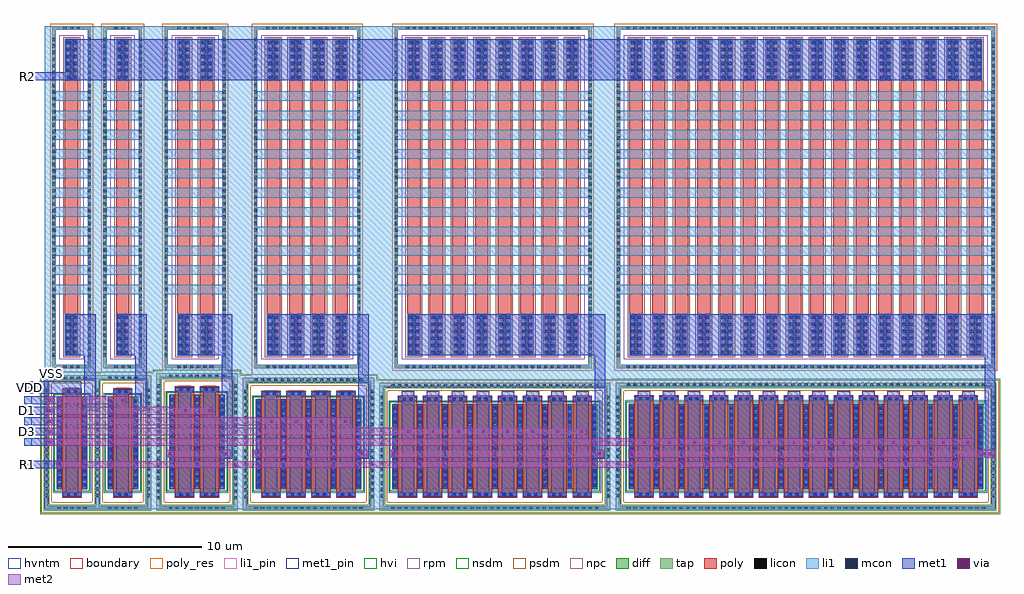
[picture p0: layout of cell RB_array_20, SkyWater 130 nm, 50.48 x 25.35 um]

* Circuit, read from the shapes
.subckt RB_array_20 D0 D1 D2 D3 D4 R1 R2 VDD VSS
XM1 n1 VDD R1 VSS sky130_fd_pr__nfet_g5v0d10v5 w=4.77 l=1
XM2 n2 D0 R1 VSS sky130_fd_pr__nfet_g5v0d10v5 w=4.77 l=1
XM3 R1 D1 n3 VSS sky130_fd_pr__nfet_g5v0d10v5 w=4.87 l=1 m=2
XM4 R1 D2 n4 VSS sky130_fd_pr__nfet_g5v0d10v5 w=4.65 l=1 m=4
XM5 R1 D3 n5 VSS sky130_fd_pr__nfet_g5v0d10v5 w=4.38 l=1 m=8
XM6 R1 D4 n6 VSS sky130_fd_pr__nfet_g5v0d10v5 w=4.4 l=1 m=14
XR7 R2 n1 VSS sky130_fd_pr__res_high_po w=0.69 l=12.1
XR8 R2 n2 VSS sky130_fd_pr__res_high_po w=0.69 l=12.1
XR9 R2 n3 VSS sky130_fd_pr__res_high_po w=0.69 l=12.1 m=2
XR10 R2 n4 VSS sky130_fd_pr__res_high_po w=0.69 l=12.1 m=4
XR11 R2 n5 VSS sky130_fd_pr__res_high_po w=0.69 l=12.1 m=8
XR12 R2 n6 VSS sky130_fd_pr__res_high_po w=0.69 l=12.1 m=16
.ends

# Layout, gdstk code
import gdstk
lib = gdstk.Library(unit=1e-6, precision=1e-09)
def R(c, l, rs):  # rectangles x0, y0, x1, y1
    for r in rs: c.add(gdstk.rectangle(r[:2], r[2:], *l))
def A(c, l, x, y, w, h, nx, ny, dx, dy):  # array of equal rectangles
    R(c, l, [(x+i*dx, y+j*dy, x+i*dx+w, y+j*dy+h) for i in range(nx) for j in range(ny)])
diff = (65, 20)
tap = (65, 44)
poly_res = (66, 13)
poly = (66, 20)
licon = (66, 44)
li1_pin = (67, 16)
li1 = (67, 20)
mcon = (67, 44)
met1_pin = (68, 16)
met1 = (68, 20)
via = (68, 44)
met2 = (69, 20)
hvi = (75, 20)
rpm = (86, 20)
nsdm = (93, 44)
psdm = (94, 20)
npc = (95, 20)
hvntm = (125, 20)
boundary = (235, 4)

sky130_fd_pr__res_high_p = lib.new_cell('sky130_fd_pr__res_high_po_0p69_Z3RMRJ')
R(sky130_fd_pr__res_high_p, tap, [(-1.58,-8.84,1.58,-8.67), (-1.58,-8.67,-1.41,8.67), (1.41,-8.67,1.58,8.67), (-1.58,8.67,1.58,8.84)])
R(sky130_fd_pr__res_high_p, poly_res, [(-0.93,-6.11,-0.24,6.11), (0.24,-6.11,0.93,6.11)])
R(sky130_fd_pr__res_high_p, poly, [(-0.93,-8.19,-0.24,8.19), (0.24,-8.19,0.93,8.19)])
A(sky130_fd_pr__res_high_p, licon, -0.935, -8.84, 0.17, 0.17, 6, 2, 0.34, 17.51)
A(sky130_fd_pr__res_high_p, licon, -1.58, -8.245, 0.17, 0.17, 1, 49, 0, 0.34)
A(sky130_fd_pr__res_high_p, licon, 1.41, -8.245, 0.17, 0.17, 1, 49, 0, 0.34)
R(sky130_fd_pr__res_high_p, licon, [(-0.68,-8.11,-0.49,-6.11), (0.49,-8.11,0.68,-6.11), (-0.68,6.11,-0.49,8.11), (0.49,6.11,0.68,8.11)])
R(sky130_fd_pr__res_high_p, li1, [(-1.58,-8.84,1.58,-8.67), (-1.58,-8.67,-1.41,8.67), (1.41,-8.67,1.58,8.67), (-0.93,-8.19,-0.24,-6.03), (0.24,-8.19,0.93,-6.03), (-0.93,6.03,-0.24,8.19), (0.24,6.03,0.93,8.19), (-1.58,8.67,1.58,8.84)])
A(sky130_fd_pr__res_high_p, mcon, -0.85, -8.095, 0.17, 0.17, 1, 6, 0, 0.36)
A(sky130_fd_pr__res_high_p, mcon, -0.49, -8.095, 0.17, 0.17, 1, 6, 0, 0.36)
A(sky130_fd_pr__res_high_p, mcon, 0.32, -8.095, 0.17, 0.17, 1, 6, 0, 0.36)
A(sky130_fd_pr__res_high_p, mcon, 0.68, -8.095, 0.17, 0.17, 1, 6, 0, 0.36)
A(sky130_fd_pr__res_high_p, mcon, -0.85, 6.12, 0.17, 0.17, 1, 6, 0, 0.36)
A(sky130_fd_pr__res_high_p, mcon, -0.49, 6.12, 0.17, 0.17, 1, 6, 0, 0.36)
A(sky130_fd_pr__res_high_p, mcon, 0.32, 6.12, 0.17, 0.17, 1, 6, 0, 0.36)
A(sky130_fd_pr__res_high_p, mcon, 0.68, 6.12, 0.17, 0.17, 1, 6, 0, 0.36)
R(sky130_fd_pr__res_high_p, met1, [(-0.88,-8.16,-0.29,-6.055), (0.29,-8.16,0.88,-6.055), (-0.88,6.055,-0.29,8.16), (0.29,6.055,0.88,8.16)])
R(sky130_fd_pr__res_high_p, rpm, [(-1.22,-8.39,1.22,8.39)])
R(sky130_fd_pr__res_high_p, psdm, [(-1.705,-8.965,1.705,8.965)])
R(sky130_fd_pr__res_high_p, npc, [(-1.025,-8.285,-0.145,8.285), (0.145,-8.285,1.025,8.285)])
R(sky130_fd_pr__res_high_p, boundary, [(-1.495,-8.755,1.495,8.755)])

c_sky130_fd_pr__res_high_p = lib.new_cell('sky130_fd_pr__res_high_po_0p69_JKKHRG')
R(c_sky130_fd_pr__res_high_p, tap, [(-0.995,-8.84,0.995,-8.67), (-0.995,-8.67,-0.825,8.67), (0.825,-8.67,0.995,8.67), (-0.995,8.67,0.995,8.84)])
R(c_sky130_fd_pr__res_high_p, poly_res, [(-0.345,-6.11,0.345,6.11)])
R(c_sky130_fd_pr__res_high_p, poly, [(-0.345,-8.19,0.345,8.19)])
A(c_sky130_fd_pr__res_high_p, licon, -0.425, -8.84, 0.17, 0.17, 3, 2, 0.34, 17.51)
A(c_sky130_fd_pr__res_high_p, licon, -0.995, -8.245, 0.17, 0.17, 1, 49, 0, 0.34)
A(c_sky130_fd_pr__res_high_p, licon, 0.825, -8.245, 0.17, 0.17, 1, 49, 0, 0.34)
R(c_sky130_fd_pr__res_high_p, licon, [(-0.095,-8.11,0.095,-6.11), (-0.095,6.11,0.095,8.11)])
R(c_sky130_fd_pr__res_high_p, li1, [(-0.995,-8.84,0.995,-8.67), (-0.995,-8.67,-0.825,8.67), (0.825,-8.67,0.995,8.67), (-0.345,-8.19,0.345,-6.03), (-0.345,6.03,0.345,8.19), (-0.995,8.67,0.995,8.84)])
A(c_sky130_fd_pr__res_high_p, mcon, -0.265, -8.095, 0.17, 0.17, 1, 6, 0, 0.36)
A(c_sky130_fd_pr__res_high_p, mcon, 0.095, -8.095, 0.17, 0.17, 1, 6, 0, 0.36)
A(c_sky130_fd_pr__res_high_p, mcon, -0.265, 6.12, 0.17, 0.17, 1, 6, 0, 0.36)
A(c_sky130_fd_pr__res_high_p, mcon, 0.095, 6.12, 0.17, 0.17, 1, 6, 0, 0.36)
R(c_sky130_fd_pr__res_high_p, met1, [(-0.295,-8.16,0.295,-6.055), (-0.295,6.055,0.295,8.16)])
R(c_sky130_fd_pr__res_high_p, rpm, [(-0.635,-8.39,0.635,8.39)])
R(c_sky130_fd_pr__res_high_p, psdm, [(-1.12,-8.965,1.12,8.965)])
R(c_sky130_fd_pr__res_high_p, npc, [(-0.44,-8.285,0.44,8.285)])
R(c_sky130_fd_pr__res_high_p, boundary, [(-0.91,-8.755,0.91,8.755)])

sky130_fd_pr__nfet_g5v0d = lib.new_cell('sky130_fd_pr__nfet_g5v0d10v5_727CUP')
R(sky130_fd_pr__nfet_g5v0d, diff, [(-0.79,-2.385,0.79,2.385)])
R(sky130_fd_pr__nfet_g5v0d, tap, [(-1.46,-3.495,1.46,-3.205), (-1.46,-3.205,-1.17,3.205), (1.17,-3.205,1.46,3.205), (-1.46,3.205,1.46,3.495)])
R(sky130_fd_pr__nfet_g5v0d, poly, [(-0.5,-2.825,0.5,2.825)])
A(sky130_fd_pr__nfet_g5v0d, licon, -0.765, -3.435, 0.17, 0.17, 5, 2, 0.34, 6.7)
A(sky130_fd_pr__nfet_g5v0d, licon, -1.4, -2.805, 0.17, 0.17, 1, 17, 0, 0.34)
A(sky130_fd_pr__nfet_g5v0d, licon, 1.23, -2.805, 0.17, 0.17, 1, 17, 0, 0.34)
A(sky130_fd_pr__nfet_g5v0d, licon, -0.73, -2.295, 0.17, 0.17, 1, 14, 0, 0.34)
A(sky130_fd_pr__nfet_g5v0d, licon, 0.56, -2.295, 0.17, 0.17, 1, 14, 0, 0.34)
R(sky130_fd_pr__nfet_g5v0d, licon, [(-0.255,-2.745,-0.085,-2.575), (0.085,-2.745,0.255,-2.575), (-0.255,2.575,-0.085,2.745), (0.085,2.575,0.255,2.745)])
R(sky130_fd_pr__nfet_g5v0d, li1, [(-1.4,-3.435,1.4,-3.265), (-1.4,-3.265,-1.23,3.265), (1.23,-3.265,1.4,3.265), (-0.5,-2.745,0.5,-2.575), (-0.73,-2.405,-0.56,2.405), (0.56,-2.405,0.73,2.405), (-0.5,2.575,0.5,2.745), (-1.4,3.265,1.4,3.435)])
A(sky130_fd_pr__nfet_g5v0d, mcon, -0.73, -2.245, 0.17, 0.17, 1, 13, 0, 0.36)
A(sky130_fd_pr__nfet_g5v0d, mcon, 0.56, -2.245, 0.17, 0.17, 1, 13, 0, 0.36)
R(sky130_fd_pr__nfet_g5v0d, mcon, [(-0.265,-2.745,-0.095,-2.575), (0.095,-2.745,0.265,-2.575), (-0.265,2.575,-0.095,2.745), (0.095,2.575,0.265,2.745)])
R(sky130_fd_pr__nfet_g5v0d, met1, [(-0.48,-2.775,0.48,-2.545), (-0.76,-2.385,-0.53,2.385), (0.53,-2.385,0.76,2.385), (-0.48,2.545,0.48,2.775)])
R(sky130_fd_pr__nfet_g5v0d, hvi, [(-1.645,-3.68,1.645,3.68)])
R(sky130_fd_pr__nfet_g5v0d, nsdm, [(-0.915,-2.51,0.915,2.51)])
R(sky130_fd_pr__nfet_g5v0d, psdm, [(-1.585,-3.62,1.585,-3.08), (-1.585,-3.08,-1.045,3.08), (1.045,-3.08,1.585,3.08), (-1.585,3.08,1.585,3.62)])
R(sky130_fd_pr__nfet_g5v0d, npc, [(-0.355,-2.845,0.355,-2.475), (-0.355,2.475,0.355,2.845)])
R(sky130_fd_pr__nfet_g5v0d, hvntm, [(-0.975,-2.57,0.975,2.57)])
R(sky130_fd_pr__nfet_g5v0d, boundary, [(-1.315,-3.35,1.315,3.35)])

c_sky130_fd_pr__nfet_g5v0d = lib.new_cell('sky130_fd_pr__nfet_g5v0d10v5_VU5C5A')
R(c_sky130_fd_pr__nfet_g5v0d, diff, [(-1.435,-2.435,1.435,2.435)])
R(c_sky130_fd_pr__nfet_g5v0d, tap, [(-2.105,-3.545,2.105,-3.255), (-2.105,-3.255,-1.815,3.255), (1.815,-3.255,2.105,3.255), (-2.105,3.255,2.105,3.545)])
R(c_sky130_fd_pr__nfet_g5v0d, poly, [(-1.145,-2.875,-0.145,2.875), (0.145,-2.875,1.145,2.875)])
A(c_sky130_fd_pr__nfet_g5v0d, licon, -1.445, -3.485, 0.17, 0.17, 9, 2, 0.34, 6.8)
A(c_sky130_fd_pr__nfet_g5v0d, licon, -2.045, -2.975, 0.17, 0.17, 1, 18, 0, 0.34)
A(c_sky130_fd_pr__nfet_g5v0d, licon, 1.875, -2.975, 0.17, 0.17, 1, 18, 0, 0.34)
A(c_sky130_fd_pr__nfet_g5v0d, licon, -1.375, -2.295, 0.17, 0.17, 3, 14, 1.29, 0.34)
R(c_sky130_fd_pr__nfet_g5v0d, licon, [(-0.9,-2.795,-0.73,-2.625), (-0.56,-2.795,-0.39,-2.625), (0.39,-2.795,0.56,-2.625), (0.73,-2.795,0.9,-2.625), (-0.9,2.625,-0.73,2.795), (-0.56,2.625,-0.39,2.795), (0.39,2.625,0.56,2.795), (0.73,2.625,0.9,2.795)])
A(c_sky130_fd_pr__nfet_g5v0d, li1, -1.375, -2.455, 0.17, 4.91, 3, 1, 1.29, 0)
R(c_sky130_fd_pr__nfet_g5v0d, li1, [(-2.045,-3.485,2.045,-3.315), (-2.045,-3.315,-1.875,3.315), (1.875,-3.315,2.045,3.315), (-1.145,-2.795,-0.145,-2.625), (0.145,-2.795,1.145,-2.625), (-1.145,2.625,-0.145,2.795), (0.145,2.625,1.145,2.795), (-2.045,3.315,2.045,3.485)])
A(c_sky130_fd_pr__nfet_g5v0d, mcon, -1.375, -2.245, 0.17, 0.17, 3, 13, 1.29, 0.36)
R(c_sky130_fd_pr__nfet_g5v0d, mcon, [(-0.91,-2.795,-0.74,-2.625), (-0.55,-2.795,-0.38,-2.625), (0.38,-2.795,0.55,-2.625), (0.74,-2.795,0.91,-2.625), (-0.91,2.625,-0.74,2.795), (-0.55,2.625,-0.38,2.795), (0.38,2.625,0.55,2.795), (0.74,2.625,0.91,2.795)])
A(c_sky130_fd_pr__nfet_g5v0d, met1, -1.405, -2.435, 0.23, 4.87, 3, 1, 1.29, 0)
R(c_sky130_fd_pr__nfet_g5v0d, met1, [(-1.125,-2.825,-0.165,-2.595), (0.165,-2.825,1.125,-2.595), (-1.125,2.595,-0.165,2.825), (0.165,2.595,1.125,2.825)])
R(c_sky130_fd_pr__nfet_g5v0d, hvi, [(-2.29,-3.73,2.29,3.73)])
R(c_sky130_fd_pr__nfet_g5v0d, nsdm, [(-1.56,-2.56,1.56,2.56)])
R(c_sky130_fd_pr__nfet_g5v0d, psdm, [(-2.23,-3.67,2.23,-3.13), (-2.23,-3.13,-1.69,3.13), (1.69,-3.13,2.23,3.13), (-2.23,3.13,2.23,3.67)])
R(c_sky130_fd_pr__nfet_g5v0d, npc, [(-1,-2.895,-0.29,-2.525), (0.29,-2.895,1,-2.525), (-1,2.525,-0.29,2.895), (0.29,2.525,1,2.895)])
R(c_sky130_fd_pr__nfet_g5v0d, hvntm, [(-1.62,-2.62,1.62,2.62)])
R(c_sky130_fd_pr__nfet_g5v0d, boundary, [(-1.96,-3.4,1.96,3.4)])

c_sky130_fd_pr__res_high_p_ = lib.new_cell('sky130_fd_pr__res_high_po_0p69_YMHKRJ')
R(c_sky130_fd_pr__res_high_p_, tap, [(-2.75,-8.84,2.75,-8.67), (-2.75,-8.67,-2.58,8.67), (2.58,-8.67,2.75,8.67), (-2.75,8.67,2.75,8.84)])
A(c_sky130_fd_pr__res_high_p_, poly_res, -2.1, -6.11, 0.69, 12.22, 4, 1, 1.17, 0)
A(c_sky130_fd_pr__res_high_p_, poly, -2.1, -8.19, 0.69, 16.38, 4, 1, 1.17, 0)
A(c_sky130_fd_pr__res_high_p_, licon, -2.125, -8.84, 0.17, 0.17, 13, 2, 0.34, 17.51)
A(c_sky130_fd_pr__res_high_p_, licon, -2.75, -8.245, 0.17, 0.17, 1, 49, 0, 0.34)
A(c_sky130_fd_pr__res_high_p_, licon, 2.58, -8.245, 0.17, 0.17, 1, 49, 0, 0.34)
A(c_sky130_fd_pr__res_high_p_, licon, -1.85, -8.11, 0.19, 2, 4, 2, 1.17, 14.22)
A(c_sky130_fd_pr__res_high_p_, li1, -2.1, -8.19, 0.69, 2.16, 4, 2, 1.17, 14.22)
R(c_sky130_fd_pr__res_high_p_, li1, [(-2.75,-8.84,2.75,-8.67), (-2.75,-8.67,-2.58,8.67), (2.58,-8.67,2.75,8.67), (-2.75,8.67,2.75,8.84)])
A(c_sky130_fd_pr__res_high_p_, mcon, -2.02, -8.095, 0.17, 0.17, 1, 6, 0, 0.36)
A(c_sky130_fd_pr__res_high_p_, mcon, -1.66, -8.095, 0.17, 0.17, 1, 6, 0, 0.36)
A(c_sky130_fd_pr__res_high_p_, mcon, -0.85, -8.095, 0.17, 0.17, 1, 6, 0, 0.36)
A(c_sky130_fd_pr__res_high_p_, mcon, -0.49, -8.095, 0.17, 0.17, 1, 6, 0, 0.36)
A(c_sky130_fd_pr__res_high_p_, mcon, 0.32, -8.095, 0.17, 0.17, 1, 6, 0, 0.36)
A(c_sky130_fd_pr__res_high_p_, mcon, 0.68, -8.095, 0.17, 0.17, 1, 6, 0, 0.36)
A(c_sky130_fd_pr__res_high_p_, mcon, 1.49, -8.095, 0.17, 0.17, 1, 6, 0, 0.36)
A(c_sky130_fd_pr__res_high_p_, mcon, 1.85, -8.095, 0.17, 0.17, 1, 6, 0, 0.36)
A(c_sky130_fd_pr__res_high_p_, mcon, -2.02, 6.12, 0.17, 0.17, 1, 6, 0, 0.36)
A(c_sky130_fd_pr__res_high_p_, mcon, -1.66, 6.12, 0.17, 0.17, 1, 6, 0, 0.36)
A(c_sky130_fd_pr__res_high_p_, mcon, -0.85, 6.12, 0.17, 0.17, 1, 6, 0, 0.36)
A(c_sky130_fd_pr__res_high_p_, mcon, -0.49, 6.12, 0.17, 0.17, 1, 6, 0, 0.36)
A(c_sky130_fd_pr__res_high_p_, mcon, 0.32, 6.12, 0.17, 0.17, 1, 6, 0, 0.36)
A(c_sky130_fd_pr__res_high_p_, mcon, 0.68, 6.12, 0.17, 0.17, 1, 6, 0, 0.36)
A(c_sky130_fd_pr__res_high_p_, mcon, 1.49, 6.12, 0.17, 0.17, 1, 6, 0, 0.36)
A(c_sky130_fd_pr__res_high_p_, mcon, 1.85, 6.12, 0.17, 0.17, 1, 6, 0, 0.36)
A(c_sky130_fd_pr__res_high_p_, met1, -2.05, -8.16, 0.59, 2.105, 4, 2, 1.17, 14.215)
R(c_sky130_fd_pr__res_high_p_, rpm, [(-2.39,-8.39,2.39,8.39)])
R(c_sky130_fd_pr__res_high_p_, psdm, [(-2.875,-8.965,2.875,8.965)])
A(c_sky130_fd_pr__res_high_p_, npc, -2.195, -8.285, 0.88, 16.57, 4, 1, 1.17, 0)
R(c_sky130_fd_pr__res_high_p_, boundary, [(-2.665,-8.755,2.665,8.755)])

c_sky130_fd_pr__nfet_g5v0d_ = lib.new_cell('sky130_fd_pr__nfet_g5v0d10v5_S7E57E')
R(c_sky130_fd_pr__nfet_g5v0d_, diff, [(-2.725,-2.325,2.725,2.325)])
R(c_sky130_fd_pr__nfet_g5v0d_, tap, [(-3.395,-3.435,3.395,-3.145), (-3.395,-3.145,-3.105,3.145), (3.105,-3.145,3.395,3.145), (-3.395,3.145,3.395,3.435)])
A(c_sky130_fd_pr__nfet_g5v0d_, poly, -2.435, -2.765, 1, 5.53, 4, 1, 1.29, 0)
A(c_sky130_fd_pr__nfet_g5v0d_, licon, -2.805, -3.375, 0.17, 0.17, 17, 2, 0.34, 6.58)
A(c_sky130_fd_pr__nfet_g5v0d_, licon, -3.335, -2.805, 0.17, 0.17, 1, 17, 0, 0.34)
A(c_sky130_fd_pr__nfet_g5v0d_, licon, 3.165, -2.805, 0.17, 0.17, 1, 17, 0, 0.34)
A(c_sky130_fd_pr__nfet_g5v0d_, licon, -2.665, -2.125, 0.17, 0.17, 5, 13, 1.29, 0.34)
R(c_sky130_fd_pr__nfet_g5v0d_, licon, [(-2.19,-2.685,-2.02,-2.515), (-1.85,-2.685,-1.68,-2.515), (-0.9,-2.685,-0.73,-2.515), (-0.56,-2.685,-0.39,-2.515), (0.39,-2.685,0.56,-2.515), (0.73,-2.685,0.9,-2.515), (1.68,-2.685,1.85,-2.515), (2.02,-2.685,2.19,-2.515), (-2.19,2.515,-2.02,2.685), (-1.85,2.515,-1.68,2.685), (-0.9,2.515,-0.73,2.685), (-0.56,2.515,-0.39,2.685), (0.39,2.515,0.56,2.685), (0.73,2.515,0.9,2.685), (1.68,2.515,1.85,2.685), (2.02,2.515,2.19,2.685)])
A(c_sky130_fd_pr__nfet_g5v0d_, li1, -2.435, -2.685, 1, 0.17, 4, 2, 1.29, 5.2)
A(c_sky130_fd_pr__nfet_g5v0d_, li1, -2.665, -2.345, 0.17, 4.69, 5, 1, 1.29, 0)
R(c_sky130_fd_pr__nfet_g5v0d_, li1, [(-3.335,-3.375,3.335,-3.205), (-3.335,-3.205,-3.165,3.205), (3.165,-3.205,3.335,3.205), (-3.335,3.205,3.335,3.375)])
A(c_sky130_fd_pr__nfet_g5v0d_, mcon, -2.665, -2.245, 0.17, 0.17, 5, 13, 1.29, 0.36)
R(c_sky130_fd_pr__nfet_g5v0d_, mcon, [(-2.2,-2.685,-2.03,-2.515), (-1.84,-2.685,-1.67,-2.515), (-0.91,-2.685,-0.74,-2.515), (-0.55,-2.685,-0.38,-2.515), (0.38,-2.685,0.55,-2.515), (0.74,-2.685,0.91,-2.515), (1.67,-2.685,1.84,-2.515), (2.03,-2.685,2.2,-2.515), (-2.2,2.515,-2.03,2.685), (-1.84,2.515,-1.67,2.685), (-0.91,2.515,-0.74,2.685), (-0.55,2.515,-0.38,2.685), (0.38,2.515,0.55,2.685), (0.74,2.515,0.91,2.685), (1.67,2.515,1.84,2.685), (2.03,2.515,2.2,2.685)])
A(c_sky130_fd_pr__nfet_g5v0d_, met1, -2.415, -2.715, 0.96, 0.23, 4, 2, 1.29, 5.2)
A(c_sky130_fd_pr__nfet_g5v0d_, met1, -2.695, -2.325, 0.23, 4.65, 5, 1, 1.29, 0)
R(c_sky130_fd_pr__nfet_g5v0d_, hvi, [(-3.58,-3.62,3.58,3.62)])
R(c_sky130_fd_pr__nfet_g5v0d_, nsdm, [(-2.85,-2.45,2.85,2.45)])
R(c_sky130_fd_pr__nfet_g5v0d_, psdm, [(-3.52,-3.56,3.52,-3.02), (-3.52,-3.02,-2.98,3.02), (2.98,-3.02,3.52,3.02), (-3.52,3.02,3.52,3.56)])
A(c_sky130_fd_pr__nfet_g5v0d_, npc, -2.29, -2.785, 0.71, 0.37, 4, 2, 1.29, 5.2)
R(c_sky130_fd_pr__nfet_g5v0d_, hvntm, [(-2.91,-2.51,2.91,2.51)])
R(c_sky130_fd_pr__nfet_g5v0d_, boundary, [(-3.25,-3.29,3.25,3.29)])

c_sky130_fd_pr__res_high_p__ = lib.new_cell('sky130_fd_pr__res_high_po_0p69_Z3RMR6')
R(c_sky130_fd_pr__res_high_p__, tap, [(-5.09,-8.84,5.09,-8.67), (-5.09,-8.67,-4.92,8.67), (4.92,-8.67,5.09,8.67), (-5.09,8.67,5.09,8.84)])
A(c_sky130_fd_pr__res_high_p__, poly_res, -4.44, -6.11, 0.69, 12.22, 8, 1, 1.17, 0)
A(c_sky130_fd_pr__res_high_p__, poly, -4.44, -8.19, 0.69, 16.38, 8, 1, 1.17, 0)
A(c_sky130_fd_pr__res_high_p__, licon, -4.505, -8.84, 0.17, 0.17, 27, 2, 0.34, 17.51)
A(c_sky130_fd_pr__res_high_p__, licon, -5.09, -8.245, 0.17, 0.17, 1, 49, 0, 0.34)
A(c_sky130_fd_pr__res_high_p__, licon, 4.92, -8.245, 0.17, 0.17, 1, 49, 0, 0.34)
A(c_sky130_fd_pr__res_high_p__, licon, -4.19, -8.11, 0.19, 2, 8, 2, 1.17, 14.22)
A(c_sky130_fd_pr__res_high_p__, li1, -4.44, -8.19, 0.69, 2.16, 8, 2, 1.17, 14.22)
R(c_sky130_fd_pr__res_high_p__, li1, [(-5.09,-8.84,5.09,-8.67), (-5.09,-8.67,-4.92,8.67), (4.92,-8.67,5.09,8.67), (-5.09,8.67,5.09,8.84)])
A(c_sky130_fd_pr__res_high_p__, mcon, -4.36, -8.095, 0.17, 0.17, 1, 6, 0, 0.36)
A(c_sky130_fd_pr__res_high_p__, mcon, -4, -8.095, 0.17, 0.17, 1, 6, 0, 0.36)
A(c_sky130_fd_pr__res_high_p__, mcon, -3.19, -8.095, 0.17, 0.17, 1, 6, 0, 0.36)
A(c_sky130_fd_pr__res_high_p__, mcon, -2.83, -8.095, 0.17, 0.17, 1, 6, 0, 0.36)
A(c_sky130_fd_pr__res_high_p__, mcon, -2.02, -8.095, 0.17, 0.17, 1, 6, 0, 0.36)
A(c_sky130_fd_pr__res_high_p__, mcon, -1.66, -8.095, 0.17, 0.17, 1, 6, 0, 0.36)
A(c_sky130_fd_pr__res_high_p__, mcon, -0.85, -8.095, 0.17, 0.17, 1, 6, 0, 0.36)
A(c_sky130_fd_pr__res_high_p__, mcon, -0.49, -8.095, 0.17, 0.17, 1, 6, 0, 0.36)
A(c_sky130_fd_pr__res_high_p__, mcon, 0.32, -8.095, 0.17, 0.17, 1, 6, 0, 0.36)
A(c_sky130_fd_pr__res_high_p__, mcon, 0.68, -8.095, 0.17, 0.17, 1, 6, 0, 0.36)
A(c_sky130_fd_pr__res_high_p__, mcon, 1.49, -8.095, 0.17, 0.17, 1, 6, 0, 0.36)
A(c_sky130_fd_pr__res_high_p__, mcon, 1.85, -8.095, 0.17, 0.17, 1, 6, 0, 0.36)
A(c_sky130_fd_pr__res_high_p__, mcon, 2.66, -8.095, 0.17, 0.17, 1, 6, 0, 0.36)
A(c_sky130_fd_pr__res_high_p__, mcon, 3.02, -8.095, 0.17, 0.17, 1, 6, 0, 0.36)
A(c_sky130_fd_pr__res_high_p__, mcon, 3.83, -8.095, 0.17, 0.17, 1, 6, 0, 0.36)
A(c_sky130_fd_pr__res_high_p__, mcon, 4.19, -8.095, 0.17, 0.17, 1, 6, 0, 0.36)
A(c_sky130_fd_pr__res_high_p__, mcon, -4.36, 6.12, 0.17, 0.17, 1, 6, 0, 0.36)
A(c_sky130_fd_pr__res_high_p__, mcon, -4, 6.12, 0.17, 0.17, 1, 6, 0, 0.36)
A(c_sky130_fd_pr__res_high_p__, mcon, -3.19, 6.12, 0.17, 0.17, 1, 6, 0, 0.36)
A(c_sky130_fd_pr__res_high_p__, mcon, -2.83, 6.12, 0.17, 0.17, 1, 6, 0, 0.36)
A(c_sky130_fd_pr__res_high_p__, mcon, -2.02, 6.12, 0.17, 0.17, 1, 6, 0, 0.36)
A(c_sky130_fd_pr__res_high_p__, mcon, -1.66, 6.12, 0.17, 0.17, 1, 6, 0, 0.36)
A(c_sky130_fd_pr__res_high_p__, mcon, -0.85, 6.12, 0.17, 0.17, 1, 6, 0, 0.36)
A(c_sky130_fd_pr__res_high_p__, mcon, -0.49, 6.12, 0.17, 0.17, 1, 6, 0, 0.36)
A(c_sky130_fd_pr__res_high_p__, mcon, 0.32, 6.12, 0.17, 0.17, 1, 6, 0, 0.36)
A(c_sky130_fd_pr__res_high_p__, mcon, 0.68, 6.12, 0.17, 0.17, 1, 6, 0, 0.36)
A(c_sky130_fd_pr__res_high_p__, mcon, 1.49, 6.12, 0.17, 0.17, 1, 6, 0, 0.36)
A(c_sky130_fd_pr__res_high_p__, mcon, 1.85, 6.12, 0.17, 0.17, 1, 6, 0, 0.36)
A(c_sky130_fd_pr__res_high_p__, mcon, 2.66, 6.12, 0.17, 0.17, 1, 6, 0, 0.36)
A(c_sky130_fd_pr__res_high_p__, mcon, 3.02, 6.12, 0.17, 0.17, 1, 6, 0, 0.36)
A(c_sky130_fd_pr__res_high_p__, mcon, 3.83, 6.12, 0.17, 0.17, 1, 6, 0, 0.36)
A(c_sky130_fd_pr__res_high_p__, mcon, 4.19, 6.12, 0.17, 0.17, 1, 6, 0, 0.36)
A(c_sky130_fd_pr__res_high_p__, met1, -4.39, -8.16, 0.59, 2.105, 8, 2, 1.17, 14.215)
R(c_sky130_fd_pr__res_high_p__, rpm, [(-4.73,-8.39,4.73,8.39)])
R(c_sky130_fd_pr__res_high_p__, psdm, [(-5.215,-8.965,5.215,8.965)])
A(c_sky130_fd_pr__res_high_p__, npc, -4.535, -8.285, 0.88, 16.57, 8, 1, 1.17, 0)
R(c_sky130_fd_pr__res_high_p__, boundary, [(-5.005,-8.755,5.005,8.755)])

c_sky130_fd_pr__nfet_g5v0d__ = lib.new_cell('sky130_fd_pr__nfet_g5v0d10v5_J97EKB')
R(c_sky130_fd_pr__nfet_g5v0d__, diff, [(-5.305,-2.19,5.305,2.19)])
R(c_sky130_fd_pr__nfet_g5v0d__, tap, [(-5.975,-3.3,5.975,-3.01), (-5.975,-3.01,-5.685,3.01), (5.685,-3.01,5.975,3.01), (-5.975,3.01,5.975,3.3)])
A(c_sky130_fd_pr__nfet_g5v0d__, poly, -5.015, -2.63, 1, 5.26, 8, 1, 1.29, 0)
A(c_sky130_fd_pr__nfet_g5v0d__, licon, -5.355, -3.24, 0.17, 0.17, 32, 2, 0.34, 6.31)
A(c_sky130_fd_pr__nfet_g5v0d__, licon, -5.915, -2.635, 0.17, 0.17, 1, 16, 0, 0.34)
A(c_sky130_fd_pr__nfet_g5v0d__, licon, 5.745, -2.635, 0.17, 0.17, 1, 16, 0, 0.34)
A(c_sky130_fd_pr__nfet_g5v0d__, licon, -5.245, -2.125, 0.17, 0.17, 9, 13, 1.29, 0.34)
R(c_sky130_fd_pr__nfet_g5v0d__, licon, [(-4.77,-2.55,-4.6,-2.38), (-4.43,-2.55,-4.26,-2.38), (-3.48,-2.55,-3.31,-2.38), (-3.14,-2.55,-2.97,-2.38), (-2.19,-2.55,-2.02,-2.38), (-1.85,-2.55,-1.68,-2.38), (-0.9,-2.55,-0.73,-2.38), (-0.56,-2.55,-0.39,-2.38), (0.39,-2.55,0.56,-2.38), (0.73,-2.55,0.9,-2.38), (1.68,-2.55,1.85,-2.38), (2.02,-2.55,2.19,-2.38), (2.97,-2.55,3.14,-2.38), (3.31,-2.55,3.48,-2.38), (4.26,-2.55,4.43,-2.38), (4.6,-2.55,4.77,-2.38), (-4.77,2.38,-4.6,2.55), (-4.43,2.38,-4.26,2.55), (-3.48,2.38,-3.31,2.55), (-3.14,2.38,-2.97,2.55), (-2.19,2.38,-2.02,2.55), (-1.85,2.38,-1.68,2.55), (-0.9,2.38,-0.73,2.55), (-0.56,2.38,-0.39,2.55), (0.39,2.38,0.56,2.55), (0.73,2.38,0.9,2.55), (1.68,2.38,1.85,2.55), (2.02,2.38,2.19,2.55), (2.97,2.38,3.14,2.55), (3.31,2.38,3.48,2.55), (4.26,2.38,4.43,2.55), (4.6,2.38,4.77,2.55)])
A(c_sky130_fd_pr__nfet_g5v0d__, li1, -5.015, -2.55, 1, 0.17, 8, 2, 1.29, 4.93)
A(c_sky130_fd_pr__nfet_g5v0d__, li1, -5.245, -2.21, 0.17, 4.42, 9, 1, 1.29, 0)
R(c_sky130_fd_pr__nfet_g5v0d__, li1, [(-5.915,-3.24,5.915,-3.07), (-5.915,-3.07,-5.745,3.07), (5.745,-3.07,5.915,3.07), (-5.915,3.07,5.915,3.24)])
A(c_sky130_fd_pr__nfet_g5v0d__, mcon, -5.245, -2.065, 0.17, 0.17, 9, 12, 1.29, 0.36)
R(c_sky130_fd_pr__nfet_g5v0d__, mcon, [(-4.78,-2.55,-4.61,-2.38), (-4.42,-2.55,-4.25,-2.38), (-3.49,-2.55,-3.32,-2.38), (-3.13,-2.55,-2.96,-2.38), (-2.2,-2.55,-2.03,-2.38), (-1.84,-2.55,-1.67,-2.38), (-0.91,-2.55,-0.74,-2.38), (-0.55,-2.55,-0.38,-2.38), (0.38,-2.55,0.55,-2.38), (0.74,-2.55,0.91,-2.38), (1.67,-2.55,1.84,-2.38), (2.03,-2.55,2.2,-2.38), (2.96,-2.55,3.13,-2.38), (3.32,-2.55,3.49,-2.38), (4.25,-2.55,4.42,-2.38), (4.61,-2.55,4.78,-2.38), (-4.78,2.38,-4.61,2.55), (-4.42,2.38,-4.25,2.55), (-3.49,2.38,-3.32,2.55), (-3.13,2.38,-2.96,2.55), (-2.2,2.38,-2.03,2.55), (-1.84,2.38,-1.67,2.55), (-0.91,2.38,-0.74,2.55), (-0.55,2.38,-0.38,2.55), (0.38,2.38,0.55,2.55), (0.74,2.38,0.91,2.55), (1.67,2.38,1.84,2.55), (2.03,2.38,2.2,2.55), (2.96,2.38,3.13,2.55), (3.32,2.38,3.49,2.55), (4.25,2.38,4.42,2.55), (4.61,2.38,4.78,2.55)])
A(c_sky130_fd_pr__nfet_g5v0d__, met1, -4.995, -2.58, 0.96, 0.23, 8, 2, 1.29, 4.93)
A(c_sky130_fd_pr__nfet_g5v0d__, met1, -5.275, -2.19, 0.23, 4.38, 9, 1, 1.29, 0)
R(c_sky130_fd_pr__nfet_g5v0d__, hvi, [(-6.16,-3.485,6.16,3.485)])
R(c_sky130_fd_pr__nfet_g5v0d__, nsdm, [(-5.43,-2.315,5.43,2.315)])
R(c_sky130_fd_pr__nfet_g5v0d__, psdm, [(-6.1,-3.425,6.1,-2.885), (-6.1,-2.885,-5.56,2.885), (5.56,-2.885,6.1,2.885), (-6.1,2.885,6.1,3.425)])
A(c_sky130_fd_pr__nfet_g5v0d__, npc, -4.87, -2.65, 0.71, 0.37, 8, 2, 1.29, 4.93)
R(c_sky130_fd_pr__nfet_g5v0d__, hvntm, [(-5.49,-2.375,5.49,2.375)])
R(c_sky130_fd_pr__nfet_g5v0d__, boundary, [(-5.83,-3.155,5.83,3.155)])

c_sky130_fd_pr__nfet_g5v0d___ = lib.new_cell('sky130_fd_pr__nfet_g5v0d10v5_YPGNM4')
R(c_sky130_fd_pr__nfet_g5v0d___, diff, [(-9.175,-2.2,9.175,2.2)])
R(c_sky130_fd_pr__nfet_g5v0d___, tap, [(-9.845,-3.31,9.845,-3.02), (-9.845,-3.02,-9.555,3.02), (9.555,-3.02,9.845,3.02), (-9.845,3.02,9.845,3.31)])
A(c_sky130_fd_pr__nfet_g5v0d___, poly, -8.885, -2.64, 1, 5.28, 14, 1, 1.29, 0)
A(c_sky130_fd_pr__nfet_g5v0d___, licon, -9.265, -3.25, 0.17, 0.17, 55, 2, 0.34, 6.33)
A(c_sky130_fd_pr__nfet_g5v0d___, licon, -9.785, -2.635, 0.17, 0.17, 1, 16, 0, 0.34)
A(c_sky130_fd_pr__nfet_g5v0d___, licon, 9.615, -2.635, 0.17, 0.17, 1, 16, 0, 0.34)
A(c_sky130_fd_pr__nfet_g5v0d___, licon, -9.115, -2.125, 0.17, 0.17, 15, 13, 1.29, 0.34)
R(c_sky130_fd_pr__nfet_g5v0d___, licon, [(-8.64,-2.56,-8.47,-2.39), (-8.3,-2.56,-8.13,-2.39), (-7.35,-2.56,-7.18,-2.39), (-7.01,-2.56,-6.84,-2.39), (-6.06,-2.56,-5.89,-2.39), (-5.72,-2.56,-5.55,-2.39), (-4.77,-2.56,-4.6,-2.39), (-4.43,-2.56,-4.26,-2.39), (-3.48,-2.56,-3.31,-2.39), (-3.14,-2.56,-2.97,-2.39), (-2.19,-2.56,-2.02,-2.39), (-1.85,-2.56,-1.68,-2.39), (-0.9,-2.56,-0.73,-2.39), (-0.56,-2.56,-0.39,-2.39), (0.39,-2.56,0.56,-2.39), (0.73,-2.56,0.9,-2.39), (1.68,-2.56,1.85,-2.39), (2.02,-2.56,2.19,-2.39), (2.97,-2.56,3.14,-2.39), (3.31,-2.56,3.48,-2.39), (4.26,-2.56,4.43,-2.39), (4.6,-2.56,4.77,-2.39), (5.55,-2.56,5.72,-2.39), (5.89,-2.56,6.06,-2.39), (6.84,-2.56,7.01,-2.39), (7.18,-2.56,7.35,-2.39), (8.13,-2.56,8.3,-2.39), (8.47,-2.56,8.64,-2.39), (-8.64,2.39,-8.47,2.56), (-8.3,2.39,-8.13,2.56), (-7.35,2.39,-7.18,2.56), (-7.01,2.39,-6.84,2.56), (-6.06,2.39,-5.89,2.56), (-5.72,2.39,-5.55,2.56), (-4.77,2.39,-4.6,2.56), (-4.43,2.39,-4.26,2.56), (-3.48,2.39,-3.31,2.56), (-3.14,2.39,-2.97,2.56), (-2.19,2.39,-2.02,2.56), (-1.85,2.39,-1.68,2.56), (-0.9,2.39,-0.73,2.56), (-0.56,2.39,-0.39,2.56), (0.39,2.39,0.56,2.56), (0.73,2.39,0.9,2.56), (1.68,2.39,1.85,2.56), (2.02,2.39,2.19,2.56), (2.97,2.39,3.14,2.56), (3.31,2.39,3.48,2.56), (4.26,2.39,4.43,2.56), (4.6,2.39,4.77,2.56), (5.55,2.39,5.72,2.56), (5.89,2.39,6.06,2.56), (6.84,2.39,7.01,2.56), (7.18,2.39,7.35,2.56), (8.13,2.39,8.3,2.56), (8.47,2.39,8.64,2.56)])
A(c_sky130_fd_pr__nfet_g5v0d___, li1, -8.885, -2.56, 1, 0.17, 14, 2, 1.29, 4.95)
A(c_sky130_fd_pr__nfet_g5v0d___, li1, -9.115, -2.22, 0.17, 4.44, 15, 1, 1.29, 0)
R(c_sky130_fd_pr__nfet_g5v0d___, li1, [(-9.785,-3.25,9.785,-3.08), (-9.785,-3.08,-9.615,3.08), (9.615,-3.08,9.785,3.08), (-9.785,3.08,9.785,3.25)])
A(c_sky130_fd_pr__nfet_g5v0d___, mcon, -9.115, -2.065, 0.17, 0.17, 15, 12, 1.29, 0.36)
R(c_sky130_fd_pr__nfet_g5v0d___, mcon, [(-8.65,-2.56,-8.48,-2.39), (-8.29,-2.56,-8.12,-2.39), (-7.36,-2.56,-7.19,-2.39), (-7,-2.56,-6.83,-2.39), (-6.07,-2.56,-5.9,-2.39), (-5.71,-2.56,-5.54,-2.39), (-4.78,-2.56,-4.61,-2.39), (-4.42,-2.56,-4.25,-2.39), (-3.49,-2.56,-3.32,-2.39), (-3.13,-2.56,-2.96,-2.39), (-2.2,-2.56,-2.03,-2.39), (-1.84,-2.56,-1.67,-2.39), (-0.91,-2.56,-0.74,-2.39), (-0.55,-2.56,-0.38,-2.39), (0.38,-2.56,0.55,-2.39), (0.74,-2.56,0.91,-2.39), (1.67,-2.56,1.84,-2.39), (2.03,-2.56,2.2,-2.39), (2.96,-2.56,3.13,-2.39), (3.32,-2.56,3.49,-2.39), (4.25,-2.56,4.42,-2.39), (4.61,-2.56,4.78,-2.39), (5.54,-2.56,5.71,-2.39), (5.9,-2.56,6.07,-2.39), (6.83,-2.56,7,-2.39), (7.19,-2.56,7.36,-2.39), (8.12,-2.56,8.29,-2.39), (8.48,-2.56,8.65,-2.39), (-8.65,2.39,-8.48,2.56), (-8.29,2.39,-8.12,2.56), (-7.36,2.39,-7.19,2.56), (-7,2.39,-6.83,2.56), (-6.07,2.39,-5.9,2.56), (-5.71,2.39,-5.54,2.56), (-4.78,2.39,-4.61,2.56), (-4.42,2.39,-4.25,2.56), (-3.49,2.39,-3.32,2.56), (-3.13,2.39,-2.96,2.56), (-2.2,2.39,-2.03,2.56), (-1.84,2.39,-1.67,2.56), (-0.91,2.39,-0.74,2.56), (-0.55,2.39,-0.38,2.56), (0.38,2.39,0.55,2.56), (0.74,2.39,0.91,2.56), (1.67,2.39,1.84,2.56), (2.03,2.39,2.2,2.56), (2.96,2.39,3.13,2.56), (3.32,2.39,3.49,2.56), (4.25,2.39,4.42,2.56), (4.61,2.39,4.78,2.56), (5.54,2.39,5.71,2.56), (5.9,2.39,6.07,2.56), (6.83,2.39,7,2.56), (7.19,2.39,7.36,2.56), (8.12,2.39,8.29,2.56), (8.48,2.39,8.65,2.56)])
A(c_sky130_fd_pr__nfet_g5v0d___, met1, -8.865, -2.59, 0.96, 0.23, 14, 2, 1.29, 4.95)
A(c_sky130_fd_pr__nfet_g5v0d___, met1, -9.145, -2.2, 0.23, 4.4, 15, 1, 1.29, 0)
R(c_sky130_fd_pr__nfet_g5v0d___, hvi, [(-10.03,-3.495,10.03,3.495)])
R(c_sky130_fd_pr__nfet_g5v0d___, nsdm, [(-9.3,-2.325,9.3,2.325)])
R(c_sky130_fd_pr__nfet_g5v0d___, psdm, [(-9.97,-3.435,9.97,-2.895), (-9.97,-2.895,-9.43,2.895), (9.43,-2.895,9.97,2.895), (-9.97,2.895,9.97,3.435)])
A(c_sky130_fd_pr__nfet_g5v0d___, npc, -8.74, -2.66, 0.71, 0.37, 14, 2, 1.29, 4.95)
R(c_sky130_fd_pr__nfet_g5v0d___, hvntm, [(-9.36,-2.385,9.36,2.385)])
R(c_sky130_fd_pr__nfet_g5v0d___, boundary, [(-9.7,-3.165,9.7,3.165)])

c_sky130_fd_pr__res_high_p___ = lib.new_cell('sky130_fd_pr__res_high_po_0p69_HBQF5Z')
R(c_sky130_fd_pr__res_high_p___, tap, [(-9.77,-8.84,9.77,-8.67), (-9.77,-8.67,-9.6,8.67), (9.6,-8.67,9.77,8.67), (-9.77,8.67,9.77,8.84)])
A(c_sky130_fd_pr__res_high_p___, poly_res, -9.12, -6.11, 0.69, 12.22, 16, 1, 1.17, 0)
A(c_sky130_fd_pr__res_high_p___, poly, -9.12, -8.19, 0.69, 16.38, 16, 1, 1.17, 0)
A(c_sky130_fd_pr__res_high_p___, licon, -9.265, -8.84, 0.17, 0.17, 55, 2, 0.34, 17.51)
A(c_sky130_fd_pr__res_high_p___, licon, -9.77, -8.245, 0.17, 0.17, 1, 49, 0, 0.34)
A(c_sky130_fd_pr__res_high_p___, licon, 9.6, -8.245, 0.17, 0.17, 1, 49, 0, 0.34)
A(c_sky130_fd_pr__res_high_p___, licon, -8.87, -8.11, 0.19, 2, 16, 2, 1.17, 14.22)
A(c_sky130_fd_pr__res_high_p___, li1, -9.12, -8.19, 0.69, 2.16, 16, 2, 1.17, 14.22)
R(c_sky130_fd_pr__res_high_p___, li1, [(-9.77,-8.84,9.77,-8.67), (-9.77,-8.67,-9.6,8.67), (9.6,-8.67,9.77,8.67), (-9.77,8.67,9.77,8.84)])
A(c_sky130_fd_pr__res_high_p___, mcon, -9.04, -8.095, 0.17, 0.17, 1, 6, 0, 0.36)
A(c_sky130_fd_pr__res_high_p___, mcon, -8.68, -8.095, 0.17, 0.17, 1, 6, 0, 0.36)
A(c_sky130_fd_pr__res_high_p___, mcon, -7.87, -8.095, 0.17, 0.17, 1, 6, 0, 0.36)
A(c_sky130_fd_pr__res_high_p___, mcon, -7.51, -8.095, 0.17, 0.17, 1, 6, 0, 0.36)
A(c_sky130_fd_pr__res_high_p___, mcon, -6.7, -8.095, 0.17, 0.17, 1, 6, 0, 0.36)
A(c_sky130_fd_pr__res_high_p___, mcon, -6.34, -8.095, 0.17, 0.17, 1, 6, 0, 0.36)
A(c_sky130_fd_pr__res_high_p___, mcon, -5.53, -8.095, 0.17, 0.17, 1, 6, 0, 0.36)
A(c_sky130_fd_pr__res_high_p___, mcon, -5.17, -8.095, 0.17, 0.17, 1, 6, 0, 0.36)
A(c_sky130_fd_pr__res_high_p___, mcon, -4.36, -8.095, 0.17, 0.17, 1, 6, 0, 0.36)
A(c_sky130_fd_pr__res_high_p___, mcon, -4, -8.095, 0.17, 0.17, 1, 6, 0, 0.36)
A(c_sky130_fd_pr__res_high_p___, mcon, -3.19, -8.095, 0.17, 0.17, 1, 6, 0, 0.36)
A(c_sky130_fd_pr__res_high_p___, mcon, -2.83, -8.095, 0.17, 0.17, 1, 6, 0, 0.36)
A(c_sky130_fd_pr__res_high_p___, mcon, -2.02, -8.095, 0.17, 0.17, 1, 6, 0, 0.36)
A(c_sky130_fd_pr__res_high_p___, mcon, -1.66, -8.095, 0.17, 0.17, 1, 6, 0, 0.36)
A(c_sky130_fd_pr__res_high_p___, mcon, -0.85, -8.095, 0.17, 0.17, 1, 6, 0, 0.36)
A(c_sky130_fd_pr__res_high_p___, mcon, -0.49, -8.095, 0.17, 0.17, 1, 6, 0, 0.36)
A(c_sky130_fd_pr__res_high_p___, mcon, 0.32, -8.095, 0.17, 0.17, 1, 6, 0, 0.36)
A(c_sky130_fd_pr__res_high_p___, mcon, 0.68, -8.095, 0.17, 0.17, 1, 6, 0, 0.36)
A(c_sky130_fd_pr__res_high_p___, mcon, 1.49, -8.095, 0.17, 0.17, 1, 6, 0, 0.36)
A(c_sky130_fd_pr__res_high_p___, mcon, 1.85, -8.095, 0.17, 0.17, 1, 6, 0, 0.36)
A(c_sky130_fd_pr__res_high_p___, mcon, 2.66, -8.095, 0.17, 0.17, 1, 6, 0, 0.36)
A(c_sky130_fd_pr__res_high_p___, mcon, 3.02, -8.095, 0.17, 0.17, 1, 6, 0, 0.36)
A(c_sky130_fd_pr__res_high_p___, mcon, 3.83, -8.095, 0.17, 0.17, 1, 6, 0, 0.36)
A(c_sky130_fd_pr__res_high_p___, mcon, 4.19, -8.095, 0.17, 0.17, 1, 6, 0, 0.36)
A(c_sky130_fd_pr__res_high_p___, mcon, 5, -8.095, 0.17, 0.17, 1, 6, 0, 0.36)
A(c_sky130_fd_pr__res_high_p___, mcon, 5.36, -8.095, 0.17, 0.17, 1, 6, 0, 0.36)
A(c_sky130_fd_pr__res_high_p___, mcon, 6.17, -8.095, 0.17, 0.17, 1, 6, 0, 0.36)
A(c_sky130_fd_pr__res_high_p___, mcon, 6.53, -8.095, 0.17, 0.17, 1, 6, 0, 0.36)
A(c_sky130_fd_pr__res_high_p___, mcon, 7.34, -8.095, 0.17, 0.17, 1, 6, 0, 0.36)
A(c_sky130_fd_pr__res_high_p___, mcon, 7.7, -8.095, 0.17, 0.17, 1, 6, 0, 0.36)
A(c_sky130_fd_pr__res_high_p___, mcon, 8.51, -8.095, 0.17, 0.17, 1, 6, 0, 0.36)
A(c_sky130_fd_pr__res_high_p___, mcon, 8.87, -8.095, 0.17, 0.17, 1, 6, 0, 0.36)
A(c_sky130_fd_pr__res_high_p___, mcon, -9.04, 6.12, 0.17, 0.17, 1, 6, 0, 0.36)
A(c_sky130_fd_pr__res_high_p___, mcon, -8.68, 6.12, 0.17, 0.17, 1, 6, 0, 0.36)
A(c_sky130_fd_pr__res_high_p___, mcon, -7.87, 6.12, 0.17, 0.17, 1, 6, 0, 0.36)
A(c_sky130_fd_pr__res_high_p___, mcon, -7.51, 6.12, 0.17, 0.17, 1, 6, 0, 0.36)
A(c_sky130_fd_pr__res_high_p___, mcon, -6.7, 6.12, 0.17, 0.17, 1, 6, 0, 0.36)
A(c_sky130_fd_pr__res_high_p___, mcon, -6.34, 6.12, 0.17, 0.17, 1, 6, 0, 0.36)
A(c_sky130_fd_pr__res_high_p___, mcon, -5.53, 6.12, 0.17, 0.17, 1, 6, 0, 0.36)
A(c_sky130_fd_pr__res_high_p___, mcon, -5.17, 6.12, 0.17, 0.17, 1, 6, 0, 0.36)
A(c_sky130_fd_pr__res_high_p___, mcon, -4.36, 6.12, 0.17, 0.17, 1, 6, 0, 0.36)
A(c_sky130_fd_pr__res_high_p___, mcon, -4, 6.12, 0.17, 0.17, 1, 6, 0, 0.36)
A(c_sky130_fd_pr__res_high_p___, mcon, -3.19, 6.12, 0.17, 0.17, 1, 6, 0, 0.36)
A(c_sky130_fd_pr__res_high_p___, mcon, -2.83, 6.12, 0.17, 0.17, 1, 6, 0, 0.36)
A(c_sky130_fd_pr__res_high_p___, mcon, -2.02, 6.12, 0.17, 0.17, 1, 6, 0, 0.36)
A(c_sky130_fd_pr__res_high_p___, mcon, -1.66, 6.12, 0.17, 0.17, 1, 6, 0, 0.36)
A(c_sky130_fd_pr__res_high_p___, mcon, -0.85, 6.12, 0.17, 0.17, 1, 6, 0, 0.36)
A(c_sky130_fd_pr__res_high_p___, mcon, -0.49, 6.12, 0.17, 0.17, 1, 6, 0, 0.36)
A(c_sky130_fd_pr__res_high_p___, mcon, 0.32, 6.12, 0.17, 0.17, 1, 6, 0, 0.36)
A(c_sky130_fd_pr__res_high_p___, mcon, 0.68, 6.12, 0.17, 0.17, 1, 6, 0, 0.36)
A(c_sky130_fd_pr__res_high_p___, mcon, 1.49, 6.12, 0.17, 0.17, 1, 6, 0, 0.36)
A(c_sky130_fd_pr__res_high_p___, mcon, 1.85, 6.12, 0.17, 0.17, 1, 6, 0, 0.36)
A(c_sky130_fd_pr__res_high_p___, mcon, 2.66, 6.12, 0.17, 0.17, 1, 6, 0, 0.36)
A(c_sky130_fd_pr__res_high_p___, mcon, 3.02, 6.12, 0.17, 0.17, 1, 6, 0, 0.36)
A(c_sky130_fd_pr__res_high_p___, mcon, 3.83, 6.12, 0.17, 0.17, 1, 6, 0, 0.36)
A(c_sky130_fd_pr__res_high_p___, mcon, 4.19, 6.12, 0.17, 0.17, 1, 6, 0, 0.36)
A(c_sky130_fd_pr__res_high_p___, mcon, 5, 6.12, 0.17, 0.17, 1, 6, 0, 0.36)
A(c_sky130_fd_pr__res_high_p___, mcon, 5.36, 6.12, 0.17, 0.17, 1, 6, 0, 0.36)
A(c_sky130_fd_pr__res_high_p___, mcon, 6.17, 6.12, 0.17, 0.17, 1, 6, 0, 0.36)
A(c_sky130_fd_pr__res_high_p___, mcon, 6.53, 6.12, 0.17, 0.17, 1, 6, 0, 0.36)
A(c_sky130_fd_pr__res_high_p___, mcon, 7.34, 6.12, 0.17, 0.17, 1, 6, 0, 0.36)
A(c_sky130_fd_pr__res_high_p___, mcon, 7.7, 6.12, 0.17, 0.17, 1, 6, 0, 0.36)
A(c_sky130_fd_pr__res_high_p___, mcon, 8.51, 6.12, 0.17, 0.17, 1, 6, 0, 0.36)
A(c_sky130_fd_pr__res_high_p___, mcon, 8.87, 6.12, 0.17, 0.17, 1, 6, 0, 0.36)
A(c_sky130_fd_pr__res_high_p___, met1, -9.07, -8.16, 0.59, 2.105, 16, 2, 1.17, 14.215)
R(c_sky130_fd_pr__res_high_p___, rpm, [(-9.41,-8.39,9.41,8.39)])
R(c_sky130_fd_pr__res_high_p___, psdm, [(-9.895,-8.965,9.895,8.965)])
A(c_sky130_fd_pr__res_high_p___, npc, -9.215, -8.285, 0.88, 16.57, 16, 1, 1.17, 0)
R(c_sky130_fd_pr__res_high_p___, boundary, [(-9.685,-8.755,9.685,8.755)])

rb_array_20 = lib.new_cell('RB_array_20')
R(rb_array_20, li1_pin, [(9.56,6.11,10.16,6.71)])
A(rb_array_20, li1, 9.53, 10.5, 48.97, 0.5, 1, 11, 0, 1)
A(rb_array_20, li1, 9.53, 11, 0.49, 0.5, 1, 10, 0, 1)
A(rb_array_20, li1, 11.81, 11, 0.81, 0.5, 1, 10, 0, 1)
A(rb_array_20, li1, 14.45, 11, 1.39, 0.5, 1, 10, 0, 1)
A(rb_array_20, li1, 18.79, 11, 1.66, 0.5, 1, 10, 0, 1)
A(rb_array_20, li1, 25.8, 11, 1.89, 0.5, 1, 10, 0, 1)
A(rb_array_20, li1, 37.73, 11, 1.45, 0.5, 1, 10, 0, 1)
R(rb_array_20, li1, [(14.87,-0.62,15.44,6.08), (19.36,-0.62,19.93,5.99), (26.41,-0.62,26.98,5.77), (38.63,-0.62,39.2,5.77), (26.41,5.77,58.68,5.9), (26.42,5.9,58.68,5.99), (19.36,5.99,58.68,6.15), (9.53,6.08,15.44,6.24), (19.41,6.15,58.68,6.23), (18.79,6.23,58.68,6.24), (9.53,6.24,58.68,6.77), (9.53,6.77,20.45,6.82), (25.8,6.77,27.69,10.5), (37.73,6.77,39.18,10.5), (58.56,6.77,58.68,24.36), (9.53,6.82,15.84,6.85), (18.79,6.82,20.45,10.5), (9.53,6.85,10.02,10.5), (11.81,6.85,12.62,10.5), (14.45,6.85,15.84,10.5), (9.53,21,10.02,24.36), (11.81,21,12.62,24.36), (14.45,21,15.84,24.36), (18.79,21,20.45,24.36), (25.8,21,27.69,24.36), (37.73,21,39.18,24.36)])
A(rb_array_20, met1_pin, 8.45, 2.66, 0.4, 0.4, 1, 5, 0, 0.54)
R(rb_array_20, met1_pin, [(8.45,1.5,8.85,1.9), (8.45,5.36,9.05,5.96), (8.45,21.575,8.85,21.975)])
A(rb_array_20, met1, 31.865, 0.155, 0.65, 5.325, 4, 1, 1.285, 0)
A(rb_array_20, met1, 41.485, 0.155, 0.65, 5.325, 3, 1, 1.295, 0)
A(rb_array_20, met1, 45.35, 0.155, 0.65, 5.325, 3, 1, 1.295, 0)
A(rb_array_20, met1, 54.385, 0.155, 0.65, 5.325, 3, 1, 1.29, 0)
A(rb_array_20, met1, 12.755, 1.52, 0.32, 0.36, 3, 1, 4.48, 0)
A(rb_array_20, met1, 46.155, 1.52, 0.32, 0.36, 5, 1, 2.58, 0)
A(rb_array_20, met1, 42.285, 2.05, 0.32, 0.4, 5, 1, 2.58, 0)
A(rb_array_20, met1, 8.45, 2.66, 1.5, 0.4, 1, 5, 0, 0.54)
R(rb_array_20, met1, [(13.23,0.15,13.88,5.475), (16.44,0.15,17.09,5.475), (17.72,0.15,18.37,5.475), (20.9,0.15,21.55,5.475), (22.2,0.15,22.85,5.475), (27.98,0.15,28.63,5.475), (10.6,0.155,11.25,5.36), (23.5,0.155,24.15,5.48), (24.79,0.155,25.44,5.48), (29.275,0.155,29.925,5.48), (30.575,0.155,31.225,5.48), (37,0.155,37.65,5.48), (40.195,0.155,40.845,5.48), (49.225,0.155,49.875,5.48), (50.52,0.155,51.17,5.48), (51.8,0.155,52.45,5.48), (53.1,0.155,53.75,5.48), (8.45,1.5,10.4,1.52), (8.45,1.52,10.445,1.88), (24.295,1.52,24.615,1.88), (28.775,1.52,29.095,1.88), (31.365,1.52,31.685,1.88), (33.945,1.52,34.265,1.88), (36.52,1.52,36.84,1.88), (41,1.52,41.32,1.88), (43.58,1.52,43.9,1.88), (18.67,1.72,18.795,2), (8.45,1.88,10.4,1.9), (18.67,2,19.215,2.1), (25.63,2,26.27,2.5), (37.85,2,38.52,2.5), (15.8,2.05,16.2,2.45), (20.3,2.05,20.7,2.1), (27.35,2.05,27.76,2.45), (30.065,2.05,30.385,2.45), (32.66,2.05,32.98,2.45), (35.25,2.05,35.57,2.45), (39.7,2.05,40.02,2.45), (55.19,2.05,55.51,2.45), (57.81,2.05,58.67,2.45), (23.005,2.07,23.325,2.43), (18.6,2.1,19.215,2.4), (20.3,2.1,20.64,2.4), (20.65,2.1,20.7,2.4), (18.67,2.4,19.215,7.355), (20.3,2.4,20.7,2.45), (57.93,2.45,58.67,4.83), (25.725,2.5,26.27,7.36), (37.975,2.5,38.52,7.36), (11.575,4.48,12.165,7.35), (14.21,4.48,14.8,7.36), (58.125,4.83,58.67,7.355), (8.45,5.36,11.41,6.01), (10.62,7.35,12.165,9.465), (16.42,7.355,19.22,9.47), (39.805,7.355,58.67,9.47), (13.255,7.36,14.8,9.475), (21.05,7.36,26.27,9.47), (28.32,7.36,38.52,9.47), (8.45,21.575,57.95,21.975), (10.62,21.975,57.95,23.68)])
A(rb_array_20, via, 12.84, 1.625, 0.15, 0.15, 3, 1, 4.48, 0)
A(rb_array_20, via, 46.24, 1.625, 0.15, 0.15, 5, 1, 2.58, 0)
A(rb_array_20, via, 30.15, 2.175, 0.15, 0.15, 3, 1, 2.585, 0)
A(rb_array_20, via, 42.37, 2.175, 0.15, 0.15, 5, 1, 2.58, 0)
A(rb_array_20, via, 52.05, 2.785, 0.15, 0.15, 3, 1, 1.3, 0)
A(rb_array_20, via, 9.675, 3.325, 0.15, 0.15, 1, 4, 0, 0.54)
A(rb_array_20, via, 29.525, 3.325, 0.15, 0.15, 3, 1, 1.3, 0)
R(rb_array_20, via, [(10.21,1.625,10.36,1.775), (24.38,1.625,24.53,1.775), (28.86,1.625,29.01,1.775), (31.445,1.625,31.595,1.775), (34.02,1.625,34.17,1.775), (36.605,1.625,36.755,1.775), (41.085,1.625,41.235,1.775), (43.665,1.625,43.815,1.775), (15.925,2.175,16.075,2.325), (18.825,2.175,18.975,2.325), (20.415,2.175,20.565,2.325), (23.09,2.175,23.24,2.325), (25.875,2.175,26.025,2.325), (27.475,2.175,27.625,2.325), (38.125,2.175,38.275,2.325), (39.785,2.175,39.935,2.325), (55.275,2.175,55.425,2.325), (58.015,2.175,58.165,2.325), (58.335,2.175,58.485,2.325), (40.465,2.785,40.615,2.935), (41.775,2.785,41.925,2.935), (43.04,2.785,43.19,2.935), (44.35,2.785,44.5,2.935), (45.605,2.785,45.755,2.935), (46.905,2.785,47.055,2.935), (48.195,2.785,48.345,2.935), (49.475,2.785,49.625,2.935), (50.775,2.785,50.925,2.935), (55.945,2.785,56.095,2.935), (57.175,2.785,57.325,2.935), (9.675,2.79,9.825,2.94), (28.25,3.325,28.4,3.475), (33.4,3.325,33.55,3.475), (34.695,3.325,34.845,3.475), (35.975,3.325,36.125,3.475), (37.225,3.325,37.375,3.475), (21.175,3.865,21.325,4.015), (22.46,3.865,22.61,4.015), (23.755,3.865,23.905,4.015), (25.015,3.865,25.165,4.015), (16.725,4.405,16.875,4.555), (17.975,4.405,18.125,4.555), (13.48,4.945,13.63,5.095)])
R(rb_array_20, met2, [(10.125,1.52,56.795,1.88), (15.8,2.05,19.15,2.45), (20.3,2.05,26.2,2.45), (27.35,2.05,38.45,2.45), (39.7,2.05,58.67,2.45), (9.6,2.66,57.5,3.06), (9.6,3.2,37.55,3.6), (9.6,3.74,25.35,4.14), (9.6,4.28,18.2,4.68), (9.6,4.82,13.705,5.22)])
R(rb_array_20, psdm, [(15.145,-0.805,15.165,6.435), (19.625,-0.805,19.645,6.315), (26.685,-0.805,26.705,6.045), (38.905,-0.805,38.925,6.045), (20.225,6.315,25.975,6.555), (9.795,6.435,12.035,6.555), (12.435,6.435,14.675,6.555), (15.595,6.535,19.005,6.555)])
R(rb_array_20, hvntm, [(11.905,0.245,11.915,5.385), (12.575,0.245,12.585,5.385)])
rb_array_20.add(gdstk.Reference(sky130_fd_pr__res_high_p, (17.3,15.52)))
rb_array_20.add(gdstk.Reference(c_sky130_fd_pr__res_high_p, (10.915,15.52)))
rb_array_20.add(gdstk.Reference(c_sky130_fd_pr__res_high_p, (13.555,15.52)))
rb_array_20.add(gdstk.Reference(sky130_fd_pr__nfet_g5v0d, (10.93,2.815)))
rb_array_20.add(gdstk.Reference(c_sky130_fd_pr__nfet_g5v0d, (17.395,2.865)))
rb_array_20.add(gdstk.Reference(sky130_fd_pr__nfet_g5v0d, (13.56,2.815)))
rb_array_20.add(gdstk.Reference(c_sky130_fd_pr__res_high_p_, (23.1,15.52)))
rb_array_20.add(gdstk.Reference(c_sky130_fd_pr__nfet_g5v0d_, (23.165,2.755)))
rb_array_20.add(gdstk.Reference(c_sky130_fd_pr__res_high_p__, (32.71,15.52)))
rb_array_20.add(gdstk.Reference(c_sky130_fd_pr__nfet_g5v0d__, (32.805,2.62)))
rb_array_20.add(gdstk.Reference(c_sky130_fd_pr__nfet_g5v0d___, (48.895,2.63)))
rb_array_20.add(gdstk.Reference(c_sky130_fd_pr__res_high_p___, (48.88,15.52)))
rb_array_20.add(gdstk.Label('VDD', (8.75,5.66), layer=68, texttype=5))
rb_array_20.add(gdstk.Label('VSS', (9.86,6.41), layer=67, texttype=5))
rb_array_20.add(gdstk.Label('R1', (8.65,1.7), layer=68, texttype=5))
rb_array_20.add(gdstk.Label('R2', (8.65,21.775), layer=68, texttype=5))
rb_array_20.add(gdstk.Label('D0', (8.65,5.02), layer=68, texttype=5))
rb_array_20.add(gdstk.Label('D1', (8.65,4.48), layer=68, texttype=5))
rb_array_20.add(gdstk.Label('D2', (8.65,3.94), layer=68, texttype=5))
rb_array_20.add(gdstk.Label('D3', (8.65,3.4), layer=68, texttype=5))
rb_array_20.add(gdstk.Label('D4', (8.65,2.86), layer=68, texttype=5))

lib.write_gds('RB_array_20.gds')
